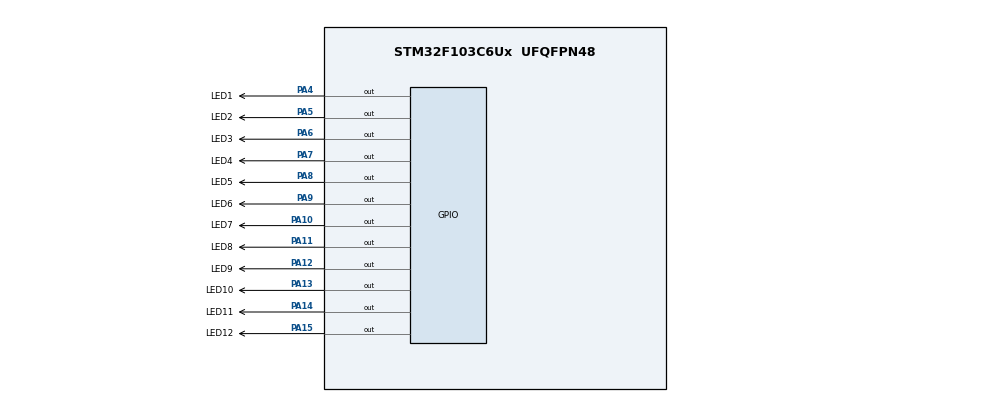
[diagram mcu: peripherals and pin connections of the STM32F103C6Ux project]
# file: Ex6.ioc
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Mcu.Family=STM32F1
Mcu.Name=STM32F103C6Ux
Mcu.Package=UFQFPN48
NVIC.PriorityGroup=NVIC_PRIORITYGROUP_4
PA10.GPIO_Label=LED7
PA10.Signal=GPIO_Output
PA11.GPIO_Label=LED8
PA11.Signal=GPIO_Output
PA12.GPIO_Label=LED9
PA12.Signal=GPIO_Output
PA13.GPIO_Label=LED10
PA13.Signal=GPIO_Output
PA14.GPIO_Label=LED11
PA14.Signal=GPIO_Output
PA15.GPIO_Label=LED12
PA15.Signal=GPIO_Output
PA4.GPIO_Label=LED1
PA4.Signal=GPIO_Output
PA5.GPIO_Label=LED2
PA5.Signal=GPIO_Output
PA6.GPIO_Label=LED3
PA6.Signal=GPIO_Output
PA7.GPIO_Label=LED4
PA7.Signal=GPIO_Output
PA8.GPIO_Label=LED5
PA8.Signal=GPIO_Output
PA9.GPIO_Label=LED6
PA9.Signal=GPIO_Output
ProjectManager.HeapSize=0x200
ProjectManager.StackSize=0x400
ProjectManager.TargetToolchain=STM32CubeIDE
RCC.APB1Freq_Value=8000000
RCC.APB2Freq_Value=8000000
VP_SYS_VS_ND.Mode=No_Debug
board=custom

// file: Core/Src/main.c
/* USER CODE BEGIN Header */
/**
  ******************************************************************************
  * @file           : main.c
  * @brief          : Main program body
  ******************************************************************************
  * @attention
  *
  * <h2><center>&copy; Copyright (c) 2026 STMicroelectronics.
  * All rights reserved.</center></h2>
  *
  * This software component is licensed by ST under BSD 3-Clause license,
  * the "License"; You may not use this file except in compliance with the
  * License. You may obtain a copy of the License at:
  *                        opensource.org/licenses/BSD-3-Clause
  *
  ******************************************************************************
  */
/* USER CODE END Header */
#include "main.h"

void SystemClock_Config(void);
static void MX_GPIO_Init(void);
/* USER CODE BEGIN PFP */
void clearAllClock(void);
/* USER CODE END PFP */

int main(void)
{

  /* MCU Configuration--------------------------------------------------------*/

  /* Reset of all peripherals, Initializes the Flash interface and the Systick. */
  HAL_Init();

  /* Configure the system clock */
  SystemClock_Config();

  /* Initialize all configured peripherals */
  MX_GPIO_Init();

  /* Infinite loop */
  /* USER CODE BEGIN WHILE */
  GPIO_PinState ledPins[12] = {0};
    uint16_t ledArray[12] = {
        LED1_Pin, LED2_Pin, LED3_Pin, LED4_Pin, LED5_Pin, LED6_Pin,
        LED7_Pin, LED8_Pin, LED9_Pin, LED10_Pin, LED11_Pin, LED12_Pin
    };
    int i;

    clearAllClock();
  while (1)
  {
    /* USER CODE END WHILE */
	  for (i = 0; i < 12; i++) {
	          HAL_GPIO_WritePin(GPIOA, ledArray[i], GPIO_PIN_RESET);   // bật đèn thứ i
	          HAL_Delay(500);
	          HAL_GPIO_WritePin(GPIOA, ledArray[i], GPIO_PIN_SET);     // tắt đèn thứ i trước khi sang đèn kế
	      }
  }
}

void SystemClock_Config(void)
{
  RCC_OscInitTypeDef RCC_OscInitStruct = {0};
  RCC_ClkInitTypeDef RCC_ClkInitStruct = {0};

  /** Initializes the RCC Oscillators according to the specified parameters
  * in the RCC_OscInitTypeDef structure.
  */
  RCC_OscInitStruct.OscillatorType = RCC_OSCILLATORTYPE_HSI;
  RCC_OscInitStruct.HSIState = RCC_HSI_ON;
  RCC_OscInitStruct.HSICalibrationValue = RCC_HSICALIBRATION_DEFAULT;
  RCC_OscInitStruct.PLL.PLLState = RCC_PLL_NONE;
  if (HAL_RCC_OscConfig(&RCC_OscInitStruct) != HAL_OK)
  {
    Error_Handler();
  }
  /** Initializes the CPU, AHB and APB buses clocks
  */
  RCC_ClkInitStruct.ClockType = RCC_CLOCKTYPE_HCLK|RCC_CLOCKTYPE_SYSCLK
                              |RCC_CLOCKTYPE_PCLK1|RCC_CLOCKTYPE_PCLK2;
  RCC_ClkInitStruct.SYSCLKSource = RCC_SYSCLKSOURCE_HSI;
  RCC_ClkInitStruct.AHBCLKDivider = RCC_SYSCLK_DIV1;
  RCC_ClkInitStruct.APB1CLKDivider = RCC_HCLK_DIV1;
  RCC_ClkInitStruct.APB2CLKDivider = RCC_HCLK_DIV1;

  if (HAL_RCC_ClockConfig(&RCC_ClkInitStruct, FLASH_LATENCY_0) != HAL_OK)
  {
    Error_Handler();
  }
}

static void MX_GPIO_Init(void)
{
  GPIO_InitTypeDef GPIO_InitStruct = {0};

  /* GPIO Ports Clock Enable */
  __HAL_RCC_GPIOA_CLK_ENABLE();

  /*Configure GPIO pin Output Level */
  HAL_GPIO_WritePin(GPIOA, LED1_Pin|LED2_Pin|LED3_Pin|LED4_Pin
                          |LED5_Pin|LED6_Pin|LED7_Pin|LED8_Pin
                          |LED9_Pin|LED10_Pin|LED11_Pin|LED12_Pin, GPIO_PIN_RESET);

  /*Configure GPIO pins : LED1_Pin LED2_Pin LED3_Pin LED4_Pin
                           LED5_Pin LED6_Pin LED7_Pin LED8_Pin
                           LED9_Pin LED10_Pin LED11_Pin LED12_Pin */
  GPIO_InitStruct.Pin = LED1_Pin|LED2_Pin|LED3_Pin|LED4_Pin
                          |LED5_Pin|LED6_Pin|LED7_Pin|LED8_Pin
                          |LED9_Pin|LED10_Pin|LED11_Pin|LED12_Pin;
  GPIO_InitStruct.Mode = GPIO_MODE_OUTPUT_PP;
  GPIO_InitStruct.Pull = GPIO_NOPULL;
  GPIO_InitStruct.Speed = GPIO_SPEED_FREQ_LOW;
  HAL_GPIO_Init(GPIOA, &GPIO_InitStruct);

}

/* USER CODE BEGIN 4 */
void clearAllClock(void)
{
    HAL_GPIO_WritePin(GPIOA, LED1_Pin, GPIO_PIN_SET);
    HAL_GPIO_WritePin(GPIOA, LED2_Pin, GPIO_PIN_SET);
    HAL_GPIO_WritePin(GPIOA, LED3_Pin, GPIO_PIN_SET);
    HAL_GPIO_WritePin(GPIOA, LED4_Pin, GPIO_PIN_SET);
    HAL_GPIO_WritePin(GPIOA, LED5_Pin, GPIO_PIN_SET);
    HAL_GPIO_WritePin(GPIOA, LED6_Pin, GPIO_PIN_SET);
    HAL_GPIO_WritePin(GPIOA, LED7_Pin, GPIO_PIN_SET);
    HAL_GPIO_WritePin(GPIOA, LED8_Pin, GPIO_PIN_SET);
    HAL_GPIO_WritePin(GPIOA, LED9_Pin, GPIO_PIN_SET);
    HAL_GPIO_WritePin(GPIOA, LED10_Pin, GPIO_PIN_SET);
    HAL_GPIO_WritePin(GPIOA, LED11_Pin, GPIO_PIN_SET);
    HAL_GPIO_WritePin(GPIOA, LED12_Pin, GPIO_PIN_SET);
}

/* USER CODE END 4 */

void Error_Handler(void)
{
  __disable_irq();
  while (1)
  {
  }
}

/************************ (C) COPYRIGHT STMicroelectronics *****END OF FILE****/
